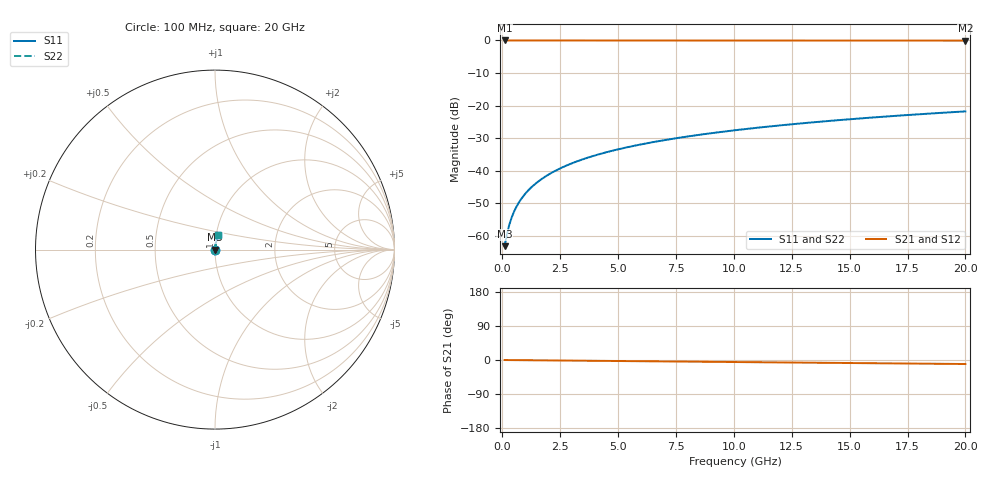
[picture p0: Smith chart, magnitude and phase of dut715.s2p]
! Touchstone file exported from HFSS 2026.1.0
!  File:  C:/ffzhzh/LocalFiles/Ansys_Project_Files/temp_train_TSV_715_1783182128_43440.aedt
!  Generated:  12:24:06 AM Jul  5, 2026
!  Design:  TSV
!  Project:  temp_train_TSV_715_1783182128_43440
! Variables:
!  h_bsmrdl = 2um
!  h_ox = 20um
!  h_rdl = 5um
!  h_sub = 97.13um
!  h_tmrdl = 5um
!  h_tsv = 97.13um
!  h_via = 3um
!  l_bsmrdl = 300um
!  l_sub = 409.46um
!  l_tmrdl = 200um
!  m_sub = 200um
!  pitch = 39.46um
!  r_tsv = 4.73um
!  s_tmrdl = 10um
!  w_bsmrdl = 18um
!  w_sub = 500um
!  w_tmrdl = 12um
!  x_tsv_center1 = 206um
!  x_tsv_center2 = 524um
!  x_tsv_center3 = 736um
!  x_tsv_center4 = 1054um
!  x_tsv_center5 = 1266um
!  x_tsv_center6 = 1584um
# GHz S MA R 50.000000
! Terminal data exported
! Port[1] = TSV1_1_T1
! Port[2] = TSV1_1_T2
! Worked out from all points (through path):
!   200 points, 100 MHz to 20 GHz, reference 50 ohm
!   highest |S21| = 0.00 dB at 100 MHz (marker M1); lowest = -0.1 dB at 20 GHz (marker M2)
!   group delay of S21, straight-line fit = 1.47 ps
!   lowest |S11| = -63.1 dB at 100 MHz (marker M3), VSWR 1.00, Z = 50.1 + j0.0459 ohm
!   |S11| at or under -10 dB: start of sweep to end of sweep
!   |S22| runs from -63.1 to -21.8 dB; largest |S21 - S12| = 4.2e-15
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0.1  0.0006974 41.1  0.9995 -0.1  0.9995 -0.1  0.0006974 41.1
! Gamma 0 0 0 0
! Port Impedance 50 0 50 0
0.2  0.00106 59.6  0.9995 -0.1  0.9995 -0.1  0.00106 59.6
0.3  0.001474 67.9  0.9995 -0.2  0.9995 -0.2  0.001474 67.9
0.4  0.001901 72.4  0.9994 -0.2  0.9994 -0.2  0.001901 72.4
0.5  0.002332 75.2  0.9994 -0.3  0.9994 -0.3  0.002332 75.2
0.6  0.002763 77.0  0.9994 -0.3  0.9994 -0.3  0.002763 77.0
0.8  0.003624 79.4  0.9994 -0.4  0.9994 -0.4  0.003624 79.4
1.1  0.004913 81.4  0.9993 -0.6  0.9993 -0.6  0.004913 81.4
1.5  0.006628 82.7  0.9992 -0.8  0.9992 -0.8  0.006628 82.7
1.8  0.007912 83.3  0.9992 -1.0  0.9992 -1.0  0.007912 83.3
2.1  0.009193 83.6  0.9991 -1.1  0.9991 -1.1  0.009193 83.6
2.7  0.01174 84.0  0.999 -1.5  0.999 -1.5  0.01174 84.0
3.5  0.01511 84.0  0.9988 -1.9  0.9988 -1.9  0.01511 84.0
4.2  0.01803 83.9  0.9986 -2.3  0.9986 -2.3  0.01803 83.9
5  0.02134 83.7  0.9984 -2.7  0.9984 -2.7  0.02134 83.7
5.9  0.02504 83.5  0.9982 -3.2  0.9982 -3.2  0.02504 83.5
6.8  0.02871 83.2  0.998 -3.7  0.998 -3.7  0.02871 83.2
8.3  0.03481 82.7  0.9976 -4.4  0.9976 -4.4  0.03481 82.7
10.1  0.0421 82.0  0.9972 -5.4  0.9972 -5.4  0.0421 82.0
13.4  0.05538 80.6  0.9963 -7.1  0.9963 -7.1  0.05538 80.6
16.7  0.06854 79.1  0.9952 -8.9  0.9952 -8.9  0.06854 79.1
20  0.08157 77.5  0.994 -10.6  0.994 -10.6  0.08157 77.5
